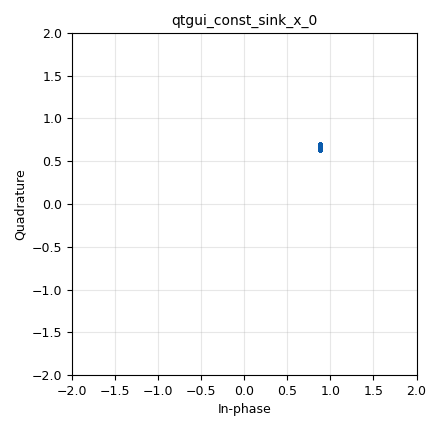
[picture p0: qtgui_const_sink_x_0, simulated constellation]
options:
  parameters:
    generate_options: qt_gui
    id: constells
    output_language: python
    title: Not titled yet
  states: {}

blocks:
- name: samp_rate
  id: variable
  parameters:
    value: '32000'
  states: {}
- name: analog_sig_source_x_0
  id: analog_sig_source_x
  parameters:
    amp: '1'
    freq: '0.01'
    offset: '0'
    phase: '0'
    samp_rate: samp_rate
    type: float
    waveform: analog.GR_TRI_WAVE
  states: {}
- name: analog_sig_source_x_0_0
  id: analog_sig_source_x
  parameters:
    amp: '1'
    freq: '0.5'
    offset: '0'
    phase: '0'
    samp_rate: samp_rate
    type: float
    waveform: analog.GR_SIN_WAVE
  states: {}
- name: blocks_float_to_complex_0
  id: blocks_float_to_complex
  parameters: {}
  states: {}
- name: blocks_throttle_0
  id: blocks_throttle
  parameters:
    samples_per_second: samp_rate
    type: complex
  states: {}
- name: blocks_vector_sink_x_0
  id: blocks_vector_sink_x
  parameters:
    type: complex
  states: {}
- name: qtgui_const_sink_x_0
  id: qtgui_const_sink_x
  parameters:
    size: '1024'
    type: complex
  states: {}

connections:
- [analog_sig_source_x_0, '0', blocks_float_to_complex_0, '0']
- [analog_sig_source_x_0_0, '0', blocks_float_to_complex_0, '1']
- [blocks_float_to_complex_0, '0', blocks_throttle_0, '0']
- [blocks_throttle_0, '0', blocks_vector_sink_x_0, '0']
- [blocks_throttle_0, '0', qtgui_const_sink_x_0, '0']

metadata:
  file_format: 1
